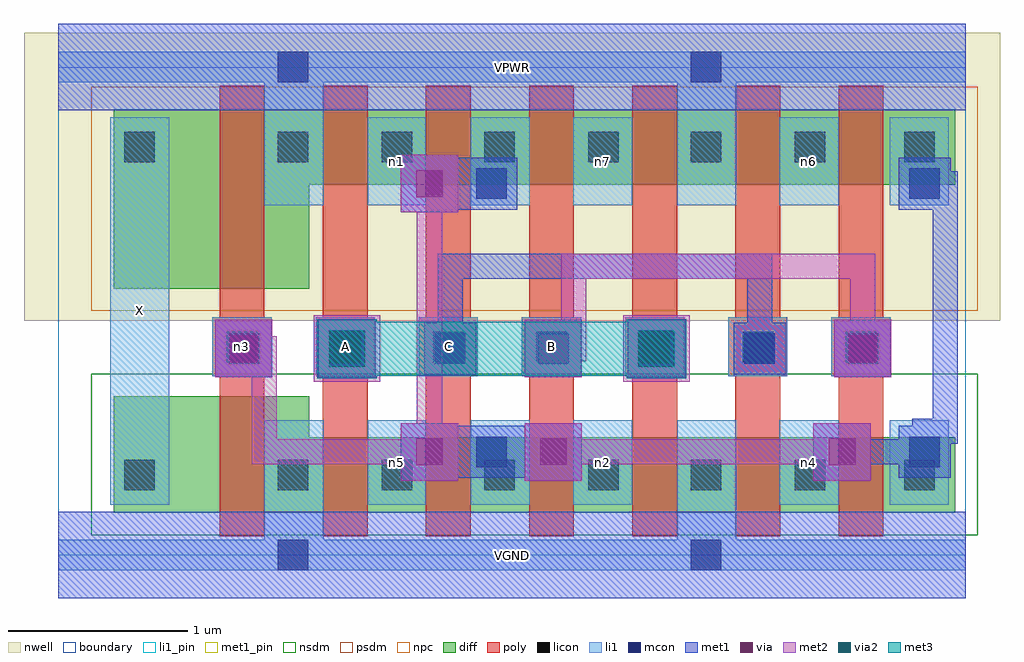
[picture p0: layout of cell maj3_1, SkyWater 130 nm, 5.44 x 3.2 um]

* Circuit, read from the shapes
.subckt maj3_1 A B C VGND VPWR X n1 n2 n3 n4 n5 n6 n7
XM1 VGND n3 X VSUBS sky130_fd_pr__nfet_01v8 w=0.65 l=0.25
XM2 n5 A VGND VSUBS sky130_fd_pr__nfet_01v8 w=0.42 l=0.25
XM3 n3 C n5 VSUBS sky130_fd_pr__nfet_01v8 w=0.42 l=0.25
XM4 n2 B n3 VSUBS sky130_fd_pr__nfet_01v8 w=0.42 l=0.25
XM5 VGND A n2 VSUBS sky130_fd_pr__nfet_01v8 w=0.42 l=0.25
XM6 n4 C VGND VSUBS sky130_fd_pr__nfet_01v8 w=0.42 l=0.25
XM7 n3 B n4 VSUBS sky130_fd_pr__nfet_01v8 w=0.42 l=0.25
XM8 VPWR n3 X n8 sky130_fd_pr__pfet_01v8 w=1 l=0.25
XM9 n1 A VPWR n8 sky130_fd_pr__pfet_01v8 w=0.42 l=0.25
XM10 n3 C n1 n8 sky130_fd_pr__pfet_01v8 w=0.42 l=0.25
XM11 n7 B n3 n8 sky130_fd_pr__pfet_01v8 w=0.42 l=0.25
XM12 VPWR A n7 n8 sky130_fd_pr__pfet_01v8 w=0.42 l=0.25
XM13 n6 C VPWR n8 sky130_fd_pr__pfet_01v8 w=0.42 l=0.25
XM14 n3 B n6 n8 sky130_fd_pr__pfet_01v8 w=0.42 l=0.25
.ends

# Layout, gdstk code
import gdstk
lib = gdstk.Library(unit=1e-6, precision=1e-09)
def R(c, l, rs):  # rectangles x0, y0, x1, y1
    for r in rs: c.add(gdstk.rectangle(r[:2], r[2:], *l))
def A(c, l, x, y, w, h, nx, ny, dx, dy):  # array of equal rectangles
    R(c, l, [(x+i*dx, y+j*dy, x+i*dx+w, y+j*dy+h) for i in range(nx) for j in range(ny)])
nwell = (64, 20)
diff = (65, 20)
poly = (66, 20)
licon = (66, 44)
li1_pin = (67, 16)
li1 = (67, 20)
mcon = (67, 44)
met1_pin = (68, 16)
met1 = (68, 20)
via = (68, 44)
met2 = (69, 20)
via2 = (69, 44)
met3 = (70, 20)
nsdm = (93, 44)
psdm = (94, 20)
npc = (95, 20)
boundary = (235, 4)

maj3_1 = lib.new_cell('maj3_1')
R(maj3_1, nwell, [(-0.19,1.305,5.25,2.91), (0,1.305,5.06,2.91)])
R(maj3_1, diff, [(0.31,0.235,1.4,0.885), (1.15,0.235,5,0.655), (0.31,1.485,1.4,2.485), (1.15,2.065,5,2.485)])
A(maj3_1, poly, 0.9, 0.105, 0.25, 2.51, 7, 1, 0.575, 0)
A(maj3_1, poly, 0.86, 0.995, 0.33, 0.33, 7, 1, 0.575, 0)
A(maj3_1, licon, 0.94, 1.075, 0.17, 0.17, 7, 1, 0.575, 0)
R(maj3_1, licon, [(0.37,0.36,0.54,0.53), (1.225,0.36,1.395,0.53), (1.805,0.36,1.975,0.53), (2.375,0.36,2.545,0.53), (2.955,0.36,3.125,0.53), (3.525,0.36,3.695,0.53), (4.105,0.36,4.275,0.53), (4.715,0.36,4.885,0.53), (0.37,2.19,0.54,2.36), (1.225,2.19,1.395,2.36), (1.805,2.19,1.975,2.36), (2.375,2.19,2.545,2.36), (2.955,2.19,3.125,2.36), (3.525,2.19,3.695,2.36), (4.105,2.19,4.275,2.36), (4.715,2.19,4.885,2.36)])
A(maj3_1, li1_pin, 1.435, 0.995, 0.33, 0.33, 3, 1, 0.575, 0)
R(maj3_1, li1_pin, [(0.29,0.28,0.62,2.44)])
A(maj3_1, li1, 0.86, 0.995, 0.33, 0.33, 7, 1, 0.575, 0)
R(maj3_1, li1, [(0,-0.085,5.06,0.085), (1.15,-0.085,1.48,0.75), (3.45,-0.085,3.78,0.75), (0.29,0.28,0.62,2.44), (1.725,0.28,2.05,0.75), (2.3,0.28,2.63,0.75), (2.87,0.28,3.2,0.75), (4.02,0.28,4.35,0.75), (4.635,0.28,4.965,0.75), (1.15,1.95,1.48,2.805), (1.725,1.95,2.05,2.44), (2.3,1.95,2.63,2.44), (2.87,1.95,3.2,2.44), (3.45,1.95,3.78,2.805), (4.02,1.95,4.35,2.44), (4.635,1.95,4.965,2.44), (0,2.635,5.06,2.805)])
A(maj3_1, mcon, 0.95, 1.065, 0.17, 0.17, 7, 1, 0.575, 0)
R(maj3_1, mcon, [(1.225,-0.085,1.395,0.085), (3.525,-0.085,3.695,0.085), (2.33,0.49,2.5,0.66), (4.745,0.49,4.915,0.66), (2.33,1.985,2.5,2.155), (4.745,1.985,4.915,2.155), (1.225,2.635,1.395,2.805), (3.525,2.635,3.695,2.805)])
R(maj3_1, met1_pin, [(0,-0.24,5.06,0.24), (0,2.48,5.06,2.96)])
A(maj3_1, met1, 0.89, 1.005, 0.29, 0.29, 7, 1, 0.575, 0)
R(maj3_1, met1, [(0,-0.24,5.06,0.24), (1.91,0.415,2.23,0.735), (2.6,0.415,2.92,0.735), (4.21,0.415,4.53,0.735), (2.23,0.43,2.27,0.72), (2.27,0.43,2.56,0.72), (2.56,0.43,2.6,0.72), (4.685,0.43,4.975,0.72), (2,0.505,2.485,0.645), (2.345,0.505,2.83,0.645), (4.3,0.505,4.9,0.645), (4.76,0.505,4.9,0.76), (4.76,0.62,5.015,0.76), (4.875,0.62,5.015,2.14), (0.875,0.99,1.195,1.31), (1.45,0.99,1.77,1.31), (2.6,0.99,2.92,1.31), (3.175,0.99,3.495,1.31), (4.325,0.99,4.645,1.31), (2.115,1.08,2.255,1.68), (3.84,1.08,3.98,1.68), (2.115,1.54,3.98,1.68), (1.91,1.91,2.23,2.23), (2.23,1.925,2.27,2.215), (2.27,1.925,2.56,2.215), (4.685,1.925,4.975,2.215), (2,2,2.485,2.14), (4.76,2,5.015,2.14), (0,2.48,5.06,2.96)])
R(maj3_1, via, [(1.995,0.5,2.145,0.65), (2.685,0.5,2.835,0.65), (4.295,0.5,4.445,0.65), (0.96,1.075,1.11,1.225), (1.535,1.075,1.685,1.225), (2.685,1.075,2.835,1.225), (3.26,1.075,3.41,1.225), (4.41,1.075,4.56,1.225), (1.995,1.995,2.145,2.145)])
R(maj3_1, met2, [(1.91,0.415,2.23,0.735), (2.6,0.415,2.92,0.735), (4.21,0.415,4.53,0.735), (1.08,0.505,1.22,1.22), (1.08,0.505,2.14,0.645), (2,0.505,2.14,2.14), (2.69,0.505,4.44,0.645), (1.425,0.965,1.795,1.335), (3.15,0.965,3.52,1.335), (0.875,0.99,1.195,1.31), (1.45,0.99,1.77,1.31), (2.6,0.99,2.92,1.31), (3.175,0.99,3.495,1.31), (4.325,0.99,4.645,1.31), (0.965,1.08,1.22,1.22), (2.69,1.08,2.945,1.22), (2.805,1.08,2.945,1.68), (4.415,1.08,4.555,1.68), (2.805,1.54,4.555,1.68), (1.91,1.91,2.23,2.23)])
R(maj3_1, via2, [(1.51,1.05,1.71,1.25), (3.235,1.05,3.435,1.25)])
R(maj3_1, met3, [(1.445,0.985,1.775,1.315), (3.17,0.985,3.5,1.315), (1.46,1,3.485,1.3)])
R(maj3_1, nsdm, [(0.185,0.11,5.125,1.01)])
R(maj3_1, psdm, [(0.185,1.36,5.125,2.61)])
A(maj3_1, npc, 0.86, 0.995, 0.33, 0.33, 7, 1, 0.575, 0)
R(maj3_1, boundary, [(0,0,5.06,2.72)])
maj3_1.add(gdstk.Label('A', (1.6,1.16), layer=67, texttype=5))
maj3_1.add(gdstk.Label('B', (2.75,1.16), layer=67, texttype=5))
maj3_1.add(gdstk.Label('C', (2.175,1.16), layer=67, texttype=5))
maj3_1.add(gdstk.Label('X', (0.455,1.36), layer=67, texttype=5))
maj3_1.add(gdstk.Label('n3', (1.025,1.16), layer=67, texttype=5))
maj3_1.add(gdstk.Label('n5', (1.887,0.515), layer=67, texttype=5))
maj3_1.add(gdstk.Label('n2', (3.035,0.515), layer=67, texttype=5))
maj3_1.add(gdstk.Label('n4', (4.185,0.515), layer=67, texttype=5))
maj3_1.add(gdstk.Label('n1', (1.887,2.195), layer=67, texttype=5))
maj3_1.add(gdstk.Label('n7', (3.035,2.195), layer=67, texttype=5))
maj3_1.add(gdstk.Label('n6', (4.185,2.195), layer=67, texttype=5))
maj3_1.add(gdstk.Label('VPWR', (2.53,2.72), layer=68, texttype=5))
maj3_1.add(gdstk.Label('VGND', (2.53,0), layer=68, texttype=5))
maj3_1.add(gdstk.Label('A', (1.6,1.16), layer=67, texttype=16))
maj3_1.add(gdstk.Label('B', (2.75,1.16), layer=67, texttype=16))
maj3_1.add(gdstk.Label('C', (2.175,1.16), layer=67, texttype=16))
maj3_1.add(gdstk.Label('X', (0.455,1.36), layer=67, texttype=16))
maj3_1.add(gdstk.Label('VPWR', (2.53,2.72), layer=68, texttype=16))
maj3_1.add(gdstk.Label('VGND', (2.53,0), layer=68, texttype=16))

lib.write_gds('maj3_1.gds')
